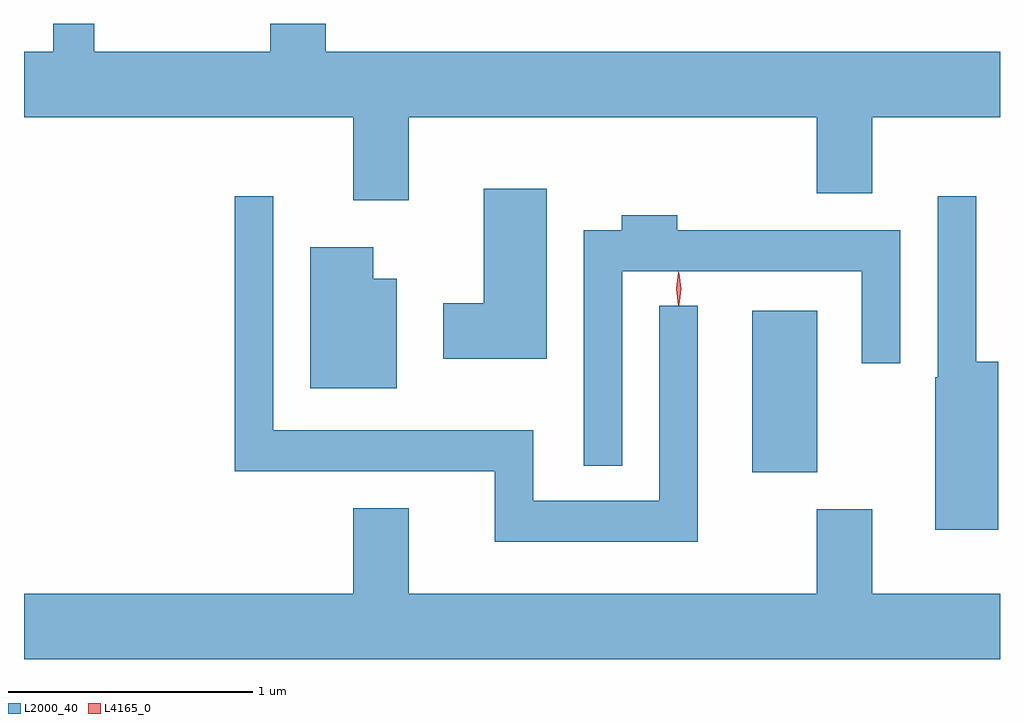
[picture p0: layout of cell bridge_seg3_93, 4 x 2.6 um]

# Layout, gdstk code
import gdstk
lib = gdstk.Library(unit=1e-6, precision=1e-09)
def R(c, l, rs):  # rectangles x0, y0, x1, y1
    for r in rs: c.add(gdstk.rectangle(r[:2], r[2:], *l))
def P(c, l, *ps):  # polygons
    for p in ps: c.add(gdstk.Polygon(p, *l))
L2000_40 = (2000, 40)
L4165_0 = (4165, 0)

bridge_seg3_93 = lib.new_cell('bridge_seg3_93')
R(bridge_seg3_93, L2000_40, [(928.616,1240.001,928.884,1240.664)])
P(bridge_seg3_93, L2000_40, [(927.209,1241.456),(928.881,1241.456),(928.881,1241.146),(929.109,1241.146),(929.109,1241.456),(929.632,1241.456),(929.632,1241.724),(926.869,1241.724),(926.869,1241.839),(926.641,1241.839),(926.641,1241.724),(925.919,1241.724),(925.919,1241.839),(925.751,1241.839),(925.751,1241.724),(925.632,1241.724),(925.632,1241.456),(926.981,1241.456),(926.981,1241.116),(927.209,1241.116)],
  [(927.774,1241.164),(927.516,1241.164),(927.516,1240.694),(927.351,1240.694),(927.351,1240.466),(927.774,1240.466)],
  [(928.394,1240.683),(928.236,1240.683),(928.236,1239.884),(927.719,1239.884),(927.719,1240.174),(926.654,1240.174),(926.654,1241.133),(926.496,1241.133),(926.496,1240.006),(927.561,1240.006),(927.561,1239.716),(928.394,1239.716)],
  [(929.624,1240.454),(929.534,1240.454),(929.534,1241.133),(929.376,1241.133),(929.376,1240.39),(929.366,1240.39),(929.366,1239.766),(929.624,1239.766)],
  [(928.084,1240.826),(929.066,1240.826),(929.066,1240.448),(929.224,1240.448),(929.224,1240.994),(928.309,1240.994),(928.309,1241.054),(928.081,1241.054),(928.081,1240.994),(927.926,1240.994),(927.926,1240.028),(928.084,1240.028)],
  [(927.159,1240.794),(927.064,1240.794),(927.064,1240.924),(926.806,1240.924),(926.806,1240.346),(927.159,1240.346)],
  [(929.632,1239.504),(929.109,1239.504),(929.109,1239.849),(928.881,1239.849),(928.881,1239.504),(927.209,1239.504),(927.209,1239.854),(926.981,1239.854),(926.981,1239.504),(925.632,1239.504),(925.632,1239.236),(929.632,1239.236)])
P(bridge_seg3_93, L4165_0, [(928.316,1240.687),(928.316,1240.687),(928.306,1240.754),(928.316,1240.82),(928.316,1240.821),(928.317,1240.82),(928.326,1240.754),(928.317,1240.687)],
  [(928.314,1240.684),(928.305,1240.753),(928.314,1240.822),(928.314,1240.823),(928.315,1240.822),(928.325,1240.753),(928.315,1240.684),(928.315,1240.684)])

lib.write_gds('bridge_seg3_93.gds')
